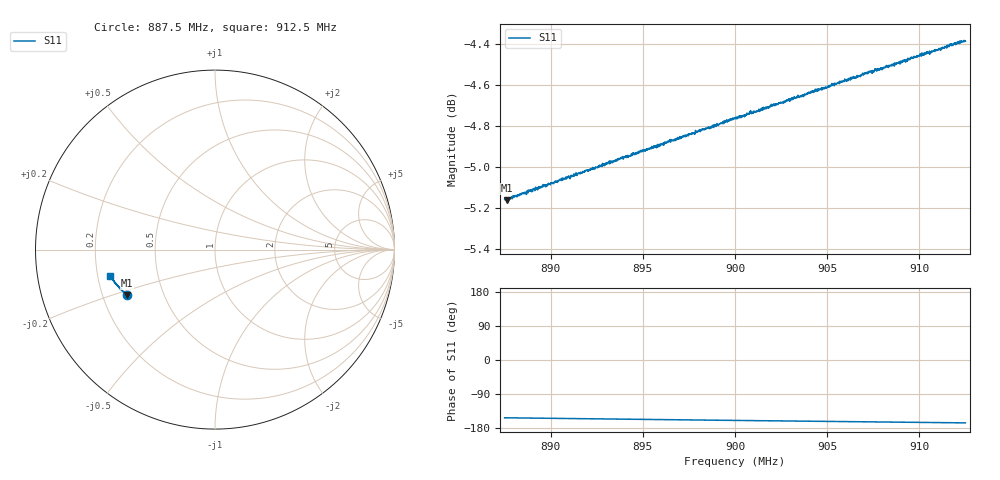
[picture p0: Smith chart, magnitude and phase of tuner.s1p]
!Agilent Technologies,E8364A,US41440334,A.07.50.37
!Agilent E8364A: A.07.50.37
!Date: Wednesday, July 29, 2015 12:12:57
!Correction: S33(Full 1 Port(3))
!S1P File: Measurement: S33:
# Hz S  dB  R 50
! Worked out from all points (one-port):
!   1601 points, 887.5 MHz to 912.5 MHz, reference 50 ohm
!   lowest |S11| = -5.2 dB at 887.61 MHz (marker M1), VSWR 3.46, Z = 15.2 - j11.2 ohm
!   |S11| at or under -10 dB: nowhere
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8.875e8  -5.16 -152.5
8.876094e8  -5.16 -152.5
8.878125e8  -5.15 -152.7
8.888281e8  -5.12 -153.3
8.90625e8  -5.05 -154.3
8.9375e8  -4.96 -156.0
8.942969e8  -4.95 -156.3
8.949688e8  -4.92 -156.7
8.956094e8  -4.90 -157.0
8.96875e8  -4.87 -157.7
8.971719e8  -4.85 -157.9
8.97875e8  -4.83 -158.3
8.981406e8  -4.82 -158.4
8.987344e8  -4.80 -158.7
9e8  -4.76 -159.4
9.004531e8  -4.75 -159.6
9.009062e8  -4.73 -159.9
9.012344e8  -4.73 -160.1
9.03125e8  -4.67 -161.1
9.03875e8  -4.65 -161.5
9.048438e8  -4.62 -162.0
9.055156e8  -4.59 -162.3
9.0625e8  -4.58 -162.7
9.09375e8  -4.47 -164.3
9.096406e8  -4.47 -164.5
9.1125e8  -4.42 -165.3
9.118281e8  -4.40 -165.6
9.125e8  -4.39 -165.9
